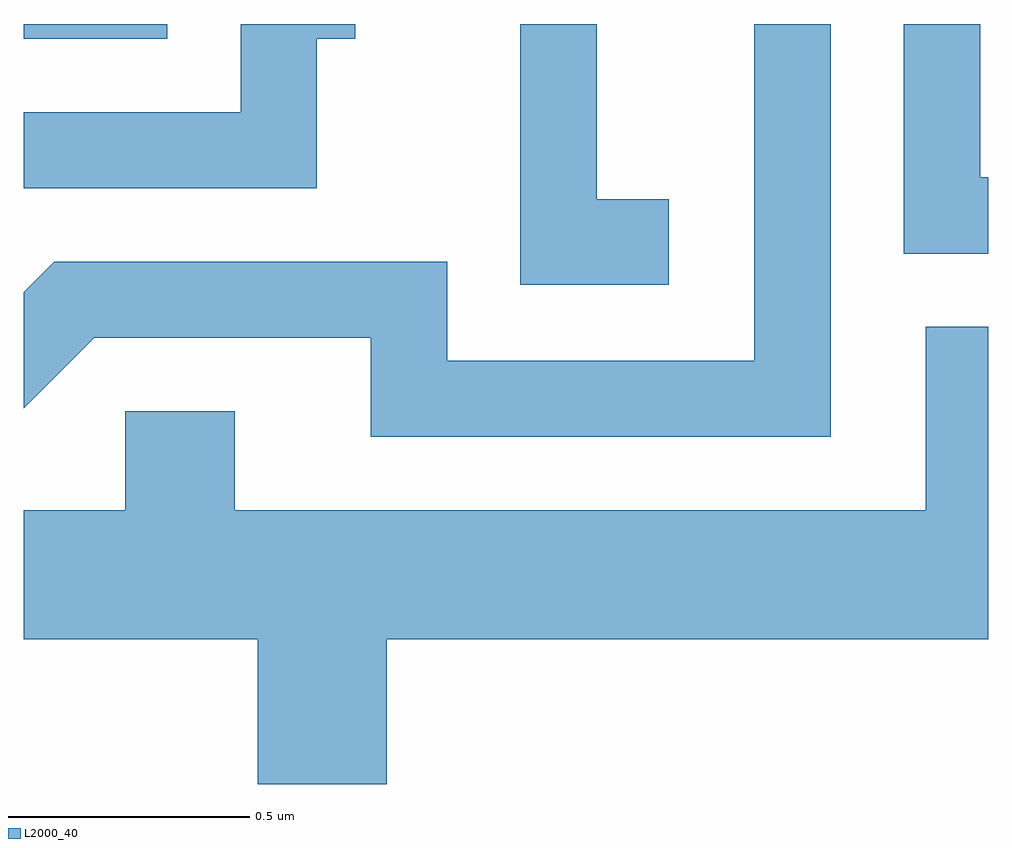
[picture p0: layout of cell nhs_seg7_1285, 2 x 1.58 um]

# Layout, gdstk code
import gdstk
lib = gdstk.Library(unit=1e-6, precision=1e-09)
def R(c, l, rs):  # rectangles x0, y0, x1, y1
    for r in rs: c.add(gdstk.rectangle(r[:2], r[2:], *l))
def P(c, l, *ps):  # polygons
    for p in ps: c.add(gdstk.Polygon(p, *l))
L2000_40 = (2000, 40)

nhs_seg7_1285 = lib.new_cell('nhs_seg7_1285')
R(nhs_seg7_1285, L2000_40, [(194.611,1722.221,194.909,1722.252)])
P(nhs_seg7_1285, L2000_40, [(195.949,1721.889),(195.799,1721.889),(195.799,1722.252),(195.641,1722.252),(195.641,1721.711),(195.949,1721.711)],
  [(195.219,1722.221),(195.298,1722.221),(195.298,1722.252),(195.061,1722.252),(195.061,1722.069),(194.611,1722.069),(194.611,1721.911),(195.219,1721.911)],
  [(196.611,1721.934),(196.594,1721.934),(196.594,1722.252),(196.436,1722.252),(196.436,1721.776),(196.611,1721.776)],
  [(196.284,1722.252),(196.126,1722.252),(196.126,1721.554),(195.489,1721.554),(195.489,1721.759),(194.674,1721.759),(194.611,1721.696),(194.611,1721.455),(194.757,1721.601),(195.331,1721.601),(195.331,1721.396),(196.284,1721.396)],
  [(195.364,1720.976),(196.611,1720.976),(196.611,1721.624),(196.481,1721.624),(196.481,1721.244),(195.049,1721.244),(195.049,1721.449),(194.821,1721.449),(194.821,1721.244),(194.611,1721.244),(194.611,1720.976),(195.096,1720.976),(195.096,1720.676),(195.364,1720.676)])

lib.write_gds('nhs_seg7_1285.gds')
